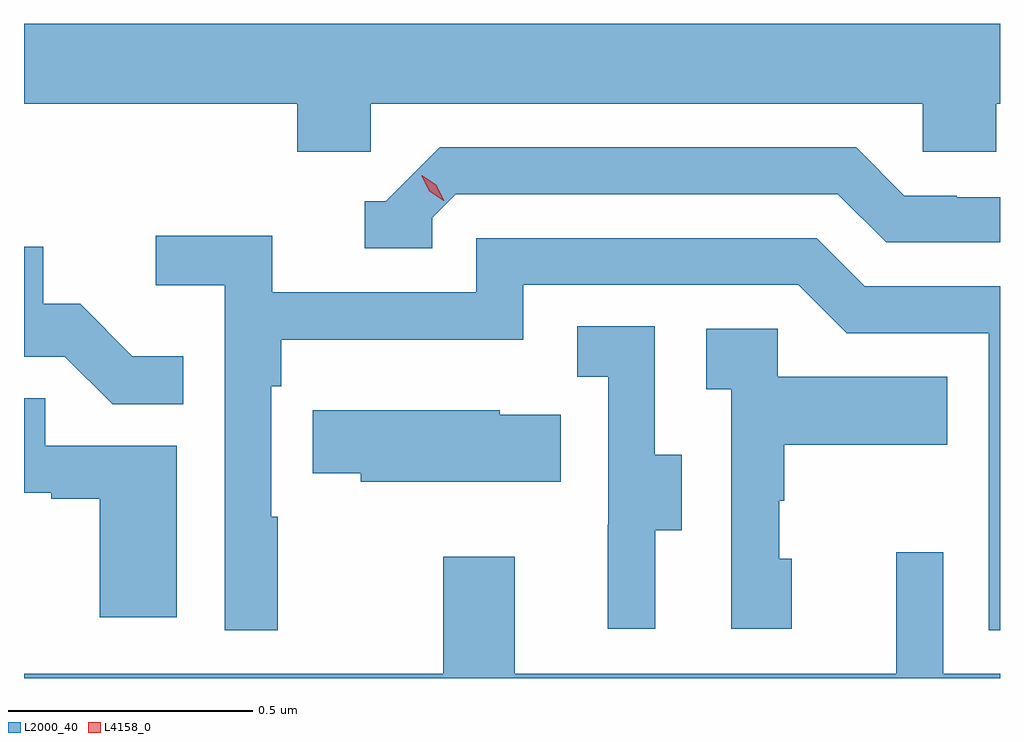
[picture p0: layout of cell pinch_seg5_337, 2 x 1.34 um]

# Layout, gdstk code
import gdstk
lib = gdstk.Library(unit=1e-6, precision=1e-09)
def P(c, l, *ps):  # polygons
    for p in ps: c.add(gdstk.Polygon(p, *l))
L2000_40 = (2000, 40)
L4158_0 = (4158, 0)

pinch_seg5_337 = lib.new_cell('pinch_seg5_337')
P(pinch_seg5_337, L2000_40, [(937.35,890.06),(938.481,890.06),(938.481,889.962),(938.631,889.962),(938.631,890.06),(938.639,890.06),(938.639,890.224),(936.639,890.224),(936.639,890.06),(937.199,890.06),(937.199,889.962),(937.35,889.962)],
  [(937.476,889.827),(937.524,889.875),(938.307,889.875),(938.406,889.776),(938.639,889.776),(938.639,889.869),(938.55,889.869),(938.55,889.872),(938.443,889.872),(938.344,889.971),(937.491,889.971),(937.38,889.86),(937.337,889.86),(937.337,889.764),(937.476,889.764)],
  [(937.159,889.214),(937.146,889.214),(937.146,889.481),(937.166,889.481),(937.166,889.577),(937.662,889.577),(937.662,889.689),(938.226,889.689),(938.325,889.59),(938.616,889.59),(938.616,888.981),(938.639,888.981),(938.639,889.686),(938.362,889.686),(938.263,889.785),(937.566,889.785),(937.566,889.674),(937.148,889.674),(937.148,889.79),(936.909,889.79),(936.909,889.688),(937.05,889.688),(937.05,888.981),(937.159,888.981)],
  [(936.965,889.543),(936.861,889.543),(936.754,889.65),(936.678,889.65),(936.678,889.767),(936.639,889.767),(936.639,889.542),(936.723,889.542),(936.821,889.444),(936.965,889.444)],
  [(937.933,889.186),(937.987,889.186),(937.987,889.341),(937.932,889.341),(937.932,889.604),(937.773,889.604),(937.773,889.501),(937.836,889.501),(937.836,889.197),(937.835,889.197),(937.835,888.984),(937.933,888.984)],
  [(938.212,889.128),(938.187,889.128),(938.187,889.247),(938.197,889.247),(938.197,889.361),(938.531,889.361),(938.531,889.501),(938.184,889.501),(938.184,889.599),(938.037,889.599),(938.037,889.475),(938.088,889.475),(938.088,888.984),(938.212,888.984)],
  [(936.952,889.359),(936.683,889.359),(936.683,889.457),(936.639,889.457),(936.639,889.263),(936.695,889.263),(936.695,889.251),(936.794,889.251),(936.794,889.008),(936.952,889.008)],
  [(937.739,889.423),(937.614,889.423),(937.614,889.432),(937.231,889.432),(937.231,889.303),(937.329,889.303),(937.329,889.286),(937.739,889.286)],
  [(938.639,888.892),(938.523,888.892),(938.523,889.141),(938.426,889.141),(938.426,888.892),(937.645,888.892),(937.645,889.132),(937.498,889.132),(937.498,888.892),(936.639,888.892),(936.639,888.883),(938.639,888.883)])
P(pinch_seg5_337, L4158_0, [(937.499,889.861),(937.469,889.881),(937.454,889.913),(937.454,889.914),(937.454,889.914),(937.484,889.894),(937.5,889.861),(937.5,889.861)])

lib.write_gds('pinch_seg5_337.gds')
